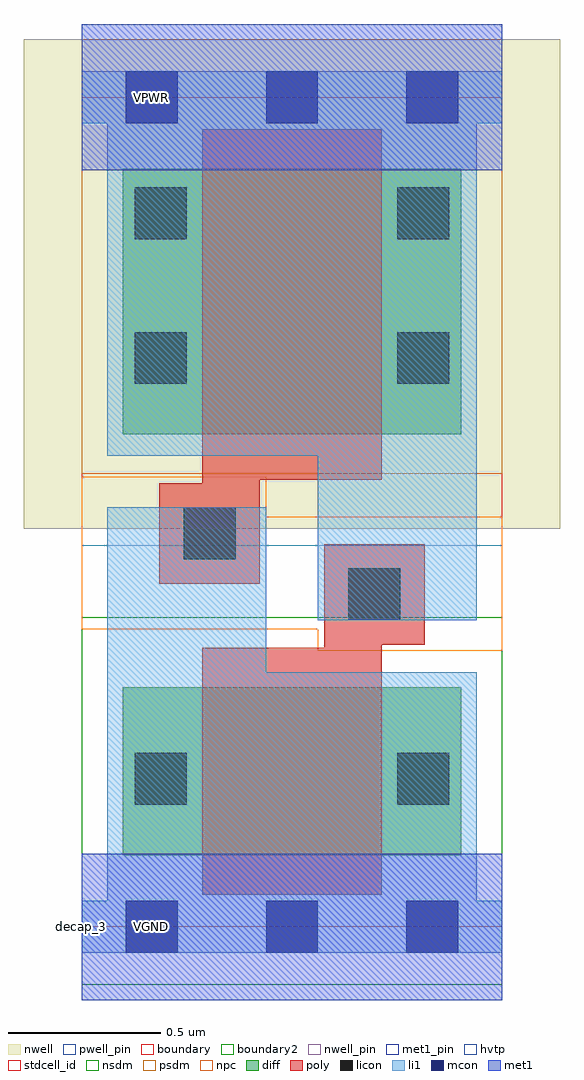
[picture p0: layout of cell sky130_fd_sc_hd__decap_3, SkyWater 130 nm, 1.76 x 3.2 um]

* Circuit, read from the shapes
.subckt sky130_fd_sc_hd__decap_3 VGND VNB VPB VPWR
XM1 VGND VPWR VGND VNB sky130_fd_pr__nfet_01v8 w=0.55 l=0.59
XM2 VPWR VGND VPWR VPB sky130_fd_pr__pfet_01v8_hvt w=0.87 l=0.59
.ends

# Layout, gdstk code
import gdstk
lib = gdstk.Library(unit=1e-6, precision=1e-09)
def R(c, l, rs):  # rectangles x0, y0, x1, y1
    for r in rs: c.add(gdstk.rectangle(r[:2], r[2:], *l))
def P(c, l, *ps):  # polygons
    for p in ps: c.add(gdstk.Polygon(p, *l))
nwell_pin = (64, 16)
nwell = (64, 20)
diff = (65, 20)
poly = (66, 20)
licon = (66, 44)
li1 = (67, 20)
mcon = (67, 44)
met1_pin = (68, 16)
met1 = (68, 20)
hvtp = (78, 44)
stdcell_id = (81, 4)
nsdm = (93, 44)
psdm = (94, 20)
npc = (95, 20)
pwell_pin = (122, 16)
boundary = (235, 4)
boundary2 = (236, 0)

sky130_fd_sc_hd__decap_3 = lib.new_cell('sky130_fd_sc_hd__decap_3')
R(sky130_fd_sc_hd__decap_3, nwell_pin, [(0.145,2.635,0.315,2.805), (0.145,2.635,0.315,2.805), (0.145,2.635,0.315,2.805), (0.145,2.635,0.315,2.805), (0.145,2.635,0.315,2.805)])
R(sky130_fd_sc_hd__decap_3, nwell, [(-0.19,1.305,1.57,2.91), (-0.19,1.305,1.57,2.91), (-0.19,1.305,1.57,2.91), (-0.19,1.305,1.57,2.91), (-0.19,1.305,1.57,2.91)])
R(sky130_fd_sc_hd__decap_3, diff, [(0.135,0.235,1.245,0.785), (0.135,0.235,1.245,0.785), (0.135,0.235,1.245,0.785), (0.135,0.235,1.245,0.785), (0.135,0.235,1.245,0.785), (0.135,1.615,1.245,2.485), (0.135,1.615,1.245,2.485), (0.135,1.615,1.245,2.485), (0.135,1.615,1.245,2.485), (0.135,1.615,1.245,2.485)])
R(sky130_fd_sc_hd__decap_3, poly, [(0.395,0.105,0.985,0.915), (0.395,0.105,0.985,0.915), (0.395,0.105,0.985,0.915), (0.395,0.105,0.985,0.915), (0.795,0.915,0.985,0.925), (0.795,0.915,0.985,0.925), (0.795,0.915,0.985,0.925), (0.795,0.915,0.985,0.925), (0.795,0.925,1.125,1.255), (0.795,0.925,1.125,1.255), (0.795,0.925,1.125,1.255), (0.795,0.925,1.125,1.255), (0.255,1.125,0.585,1.455), (0.255,1.125,0.585,1.455), (0.255,1.125,0.585,1.455), (0.255,1.125,0.585,1.455), (0.395,1.455,0.585,1.465), (0.395,1.455,0.585,1.465), (0.395,1.455,0.585,1.465), (0.395,1.455,0.585,1.465), (0.395,1.465,0.985,2.615), (0.395,1.465,0.985,2.615), (0.395,1.465,0.985,2.615), (0.395,1.465,0.985,2.615)])
P(sky130_fd_sc_hd__decap_3, poly, [(0.395,0.105),(0.395,0.915),(0.795,0.915),(0.795,1.255),(1.125,1.255),(1.125,0.925),(0.985,0.925),(0.985,0.105)],
  [(0.255,1.125),(0.255,1.455),(0.395,1.455),(0.395,2.615),(0.985,2.615),(0.985,1.465),(0.585,1.465),(0.585,1.125)])
R(sky130_fd_sc_hd__decap_3, licon, [(0.175,0.4,0.345,0.57), (0.175,0.4,0.345,0.57), (0.175,0.4,0.345,0.57), (0.175,0.4,0.345,0.57), (0.175,0.4,0.345,0.57), (1.035,0.4,1.205,0.57), (1.035,0.4,1.205,0.57), (1.035,0.4,1.205,0.57), (1.035,0.4,1.205,0.57), (1.035,0.4,1.205,0.57), (0.875,1.005,1.045,1.175), (0.875,1.005,1.045,1.175), (0.875,1.005,1.045,1.175), (0.875,1.005,1.045,1.175), (0.875,1.005,1.045,1.175), (0.335,1.205,0.505,1.375), (0.335,1.205,0.505,1.375), (0.335,1.205,0.505,1.375), (0.335,1.205,0.505,1.375), (0.335,1.205,0.505,1.375), (0.175,1.78,0.345,1.95), (0.175,1.78,0.345,1.95), (0.175,1.78,0.345,1.95), (0.175,1.78,0.345,1.95), (0.175,1.78,0.345,1.95), (1.035,1.78,1.205,1.95), (1.035,1.78,1.205,1.95), (1.035,1.78,1.205,1.95), (1.035,1.78,1.205,1.95), (1.035,1.78,1.205,1.95), (0.175,2.255,0.345,2.425), (0.175,2.255,0.345,2.425), (0.175,2.255,0.345,2.425), (0.175,2.255,0.345,2.425), (0.175,2.255,0.345,2.425), (1.035,2.255,1.205,2.425), (1.035,2.255,1.205,2.425), (1.035,2.255,1.205,2.425), (1.035,2.255,1.205,2.425), (1.035,2.255,1.205,2.425)])
R(sky130_fd_sc_hd__decap_3, li1, [(0,-0.085,1.38,0.085), (0,-0.085,1.38,0.085), (0,-0.085,1.38,0.085), (0,-0.085,1.38,0.085), (0.085,0.085,1.295,0.835), (0.085,0.085,1.295,0.835), (0.085,0.085,1.295,0.835), (0.085,0.085,1.295,0.835), (0.085,0.835,0.605,1.375), (0.085,0.835,0.605,1.375), (0.085,0.835,0.605,1.375), (0.085,0.835,0.605,1.375), (0.775,1.005,1.295,1.545), (0.775,1.005,1.295,1.545), (0.775,1.005,1.295,1.545), (0.775,1.005,1.295,1.545), (0.085,1.545,1.295,2.635), (0.085,1.545,1.295,2.635), (0.085,1.545,1.295,2.635), (0.085,1.545,1.295,2.635), (0,2.635,1.38,2.805), (0,2.635,1.38,2.805), (0,2.635,1.38,2.805), (0,2.635,1.38,2.805)])
P(sky130_fd_sc_hd__decap_3, li1, [(0.775,1.005),(0.775,1.545),(0.085,1.545),(0.085,2.635),(0,2.635),(0,2.805),(1.38,2.805),(1.38,2.635),(1.295,2.635),(1.295,1.005)],
  [(0,-0.085),(0,0.085),(0.085,0.085),(0.085,1.375),(0.605,1.375),(0.605,0.835),(1.295,0.835),(1.295,0.085),(1.38,0.085),(1.38,-0.085)])
R(sky130_fd_sc_hd__decap_3, mcon, [(0.145,-0.085,0.315,0.085), (0.145,-0.085,0.315,0.085), (0.145,-0.085,0.315,0.085), (0.145,-0.085,0.315,0.085), (0.145,-0.085,0.315,0.085), (0.605,-0.085,0.775,0.085), (0.605,-0.085,0.775,0.085), (0.605,-0.085,0.775,0.085), (0.605,-0.085,0.775,0.085), (0.605,-0.085,0.775,0.085), (1.065,-0.085,1.235,0.085), (1.065,-0.085,1.235,0.085), (1.065,-0.085,1.235,0.085), (1.065,-0.085,1.235,0.085), (1.065,-0.085,1.235,0.085), (0.145,2.635,0.315,2.805), (0.145,2.635,0.315,2.805), (0.145,2.635,0.315,2.805), (0.145,2.635,0.315,2.805), (0.145,2.635,0.315,2.805), (0.605,2.635,0.775,2.805), (0.605,2.635,0.775,2.805), (0.605,2.635,0.775,2.805), (0.605,2.635,0.775,2.805), (0.605,2.635,0.775,2.805), (1.065,2.635,1.235,2.805), (1.065,2.635,1.235,2.805), (1.065,2.635,1.235,2.805), (1.065,2.635,1.235,2.805), (1.065,2.635,1.235,2.805)])
R(sky130_fd_sc_hd__decap_3, met1_pin, [(0.145,-0.085,0.315,0.085), (0.145,-0.085,0.315,0.085), (0.145,-0.085,0.315,0.085), (0.145,-0.085,0.315,0.085), (0.145,-0.085,0.315,0.085), (0.145,2.635,0.315,2.805), (0.145,2.635,0.315,2.805), (0.145,2.635,0.315,2.805), (0.145,2.635,0.315,2.805), (0.145,2.635,0.315,2.805)])
R(sky130_fd_sc_hd__decap_3, met1, [(0,-0.24,1.38,0.24), (0,-0.24,1.38,0.24), (0,-0.24,1.38,0.24), (0,-0.24,1.38,0.24), (0,2.48,1.38,2.96), (0,2.48,1.38,2.96), (0,2.48,1.38,2.96), (0,2.48,1.38,2.96)])
R(sky130_fd_sc_hd__decap_3, hvtp, [(0,1.25,1.38,2.72), (0.215,1.435,1.165,2.665), (0.215,1.435,1.165,2.665), (0.215,1.435,1.165,2.665), (0.215,1.435,1.165,2.665)])
R(sky130_fd_sc_hd__decap_3, stdcell_id, [(0,0,1.38,2.72), (0,0,1.38,2.72), (0,0,1.38,2.72), (0,0,1.38,2.72), (0,0,1.38,2.72)])
R(sky130_fd_sc_hd__decap_3, nsdm, [(0,-0.19,1.38,1.015), (0.01,0.11,1.37,0.91), (0.01,0.11,1.37,0.91), (0.01,0.11,1.37,0.91), (0.01,0.11,1.37,0.91)])
R(sky130_fd_sc_hd__decap_3, psdm, [(0,1.485,1.38,2.91), (0.01,1.49,1.37,2.61), (0.01,1.49,1.37,2.61), (0.01,1.49,1.37,2.61), (0.01,1.49,1.37,2.61)])
R(sky130_fd_sc_hd__decap_3, npc, [(0.775,0.905,1.145,1.055), (0.775,0.905,1.145,1.055), (0.775,0.905,1.145,1.055), (0.775,0.905,1.145,1.055), (0.445,1.055,1.145,1.105), (0.445,1.055,1.145,1.105), (0.445,1.055,1.145,1.105), (0.445,1.055,1.145,1.105), (0.235,1.105,1.145,1.275), (0.235,1.105,1.145,1.275), (0.235,1.105,1.145,1.275), (0.235,1.105,1.145,1.275), (0.235,1.275,0.935,1.325), (0.235,1.275,0.935,1.325), (0.235,1.275,0.935,1.325), (0.235,1.275,0.935,1.325), (0.235,1.325,0.605,1.475), (0.235,1.325,0.605,1.475), (0.235,1.325,0.605,1.475), (0.235,1.325,0.605,1.475)])
P(sky130_fd_sc_hd__decap_3, npc, [(0.775,0.905),(0.775,0.975),(0,0.975),(0,1.475),(0.605,1.475),(0.605,1.345),(1.38,1.345),(1.38,0.905)])
R(sky130_fd_sc_hd__decap_3, pwell_pin, [(0.145,-0.085,0.315,0.085), (0.145,-0.085,0.315,0.085), (0.145,-0.085,0.315,0.085), (0.145,-0.085,0.315,0.085), (0.145,-0.085,0.315,0.085)])
R(sky130_fd_sc_hd__decap_3, boundary, [(0,0,1.38,2.72), (0,0,1.38,2.72), (0,0,1.38,2.72), (0,0,1.38,2.72)])
R(sky130_fd_sc_hd__decap_3, boundary2, [(0,0,1.38,2.72)])
sky130_fd_sc_hd__decap_3.add(gdstk.FlexPath([(0,2.72),(1.38,2.72)], 0.48, ends="flush", simple_path=True, layer=68, datatype=20))  # met1
sky130_fd_sc_hd__decap_3.add(gdstk.FlexPath([(0,0),(1.38,0)], 0.48, ends="flush", simple_path=True, layer=68, datatype=20))  # met1
sky130_fd_sc_hd__decap_3.add(gdstk.Label('VPWR', (0.23,2.72), layer=68, texttype=5))
sky130_fd_sc_hd__decap_3.add(gdstk.Label('VGND', (0.23,0), layer=68, texttype=5))
sky130_fd_sc_hd__decap_3.add(gdstk.Label('VPWR', (0.23,2.72), layer=68, texttype=5))
sky130_fd_sc_hd__decap_3.add(gdstk.Label('VGND', (0.23,0), layer=68, texttype=5))
sky130_fd_sc_hd__decap_3.add(gdstk.Label('VPWR', (0.23,2.72), layer=68, texttype=5))
sky130_fd_sc_hd__decap_3.add(gdstk.Label('VGND', (0.23,0), layer=68, texttype=5))
sky130_fd_sc_hd__decap_3.add(gdstk.Label('VPWR', (0.23,2.72), layer=68, texttype=5))
sky130_fd_sc_hd__decap_3.add(gdstk.Label('VGND', (0.23,0), layer=68, texttype=5))
sky130_fd_sc_hd__decap_3.add(gdstk.Label('VPWR', (0.23,2.72), layer=68, texttype=5))
sky130_fd_sc_hd__decap_3.add(gdstk.Label('VGND', (0.23,0), layer=68, texttype=5))
sky130_fd_sc_hd__decap_3.add(gdstk.Label('VPB', (0.23,2.72), layer=64, texttype=5))
sky130_fd_sc_hd__decap_3.add(gdstk.Label('VPB', (0.23,2.72), layer=64, texttype=5))
sky130_fd_sc_hd__decap_3.add(gdstk.Label('VPB', (0.23,2.72), layer=64, texttype=5))
sky130_fd_sc_hd__decap_3.add(gdstk.Label('VPB', (0.23,2.72), layer=64, texttype=5))
sky130_fd_sc_hd__decap_3.add(gdstk.Label('VPB', (0.23,2.72), layer=64, texttype=5))
sky130_fd_sc_hd__decap_3.add(gdstk.Label('VNB', (0.23,0), layer=64, texttype=59))
sky130_fd_sc_hd__decap_3.add(gdstk.Label('VNB', (0.23,0), layer=64, texttype=59))
sky130_fd_sc_hd__decap_3.add(gdstk.Label('VNB', (0.23,0), layer=64, texttype=59))
sky130_fd_sc_hd__decap_3.add(gdstk.Label('VNB', (0.23,0), layer=64, texttype=59))
sky130_fd_sc_hd__decap_3.add(gdstk.Label('VNB', (0.23,0), layer=64, texttype=59))
sky130_fd_sc_hd__decap_3.add(gdstk.Label('decap_3', (0,0), layer=83, texttype=44))

lib.write_gds('sky130_fd_sc_hd__decap_3.gds')
